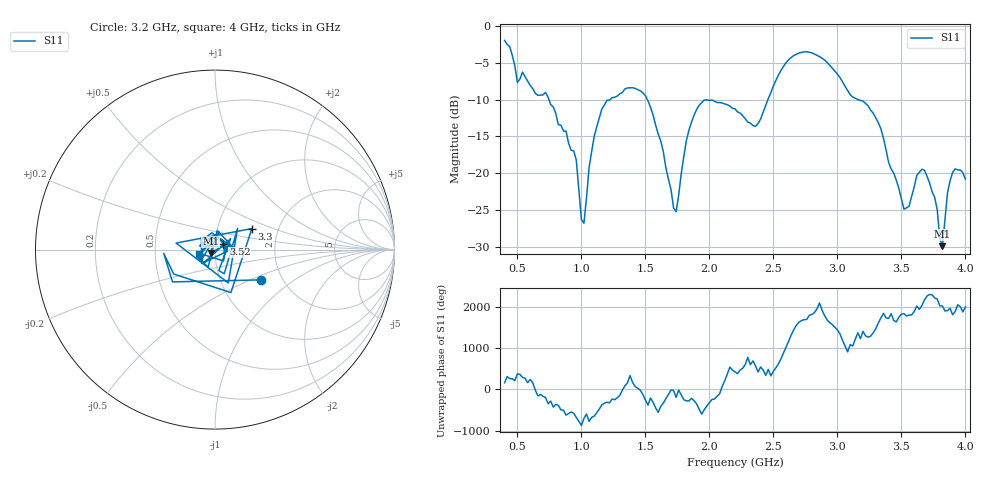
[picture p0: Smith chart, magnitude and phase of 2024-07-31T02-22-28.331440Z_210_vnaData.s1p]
!Created with skrf (http://scikit-rf.org).
# Hz S RI R 50.0
!freq ReS11 ImS11
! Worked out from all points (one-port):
!   181 points, 400 MHz to 4 GHz, reference 50 ohm
!   lowest |S11| = -29.9 dB at 3.82 GHz (marker M1), VSWR 1.07, Z = 47.6 - j1.99 ohm
!   |S11| at or under -10 dB: 746.3 MHz to 1.224 GHz (478 MHz wide, 48.5 % of centre); 1.515 GHz to 2.457 GHz (942.1 MHz wide, 47.4 % of centre); 3.16 GHz to end of sweep
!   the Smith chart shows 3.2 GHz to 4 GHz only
!   S11 on the Smith chart (normalised r, x): 3.2 GHz: 1.57, -0.58; 3.3 GHz: 1.46, +0.36; 3.52 GHz: 1.10, +0.07; 4 GHz: 0.84, -0.04
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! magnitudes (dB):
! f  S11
! 400 MHz  -2.0
! 500 MHz  -7.7
! 720 MHz  -9.0
! 860 MHz  -14.3
! 960 MHz  -18.2
! 1 GHz  -26.3
! 1.02 GHz  -26.8
! 1.06 GHz  -19.2
! 1.12 GHz  -13.7
! 1.3 GHz  -9.2
! 1.5 GHz  -9.5
! 1.72 GHz  -24.7
! 1.76 GHz  -23.0
! 1.82 GHz  -15.6
! 1.92 GHz  -10.8
! 2.2 GHz  -11.3
! 2.36 GHz  -13.7
! 2.66 GHz  -4.0
! 2.88 GHz  -4.4
! 3.1 GHz  -9.3
! 3.2 GHz  -10.2
! 3.3 GHz  -12.5
! 3.52 GHz  -24.9
! 3.56 GHz  -24.5
! 3.68 GHz  -19.6
! 3.82 GHz  -29.9
! 3.9 GHz  -19.9
! 4 GHz  -20.8
